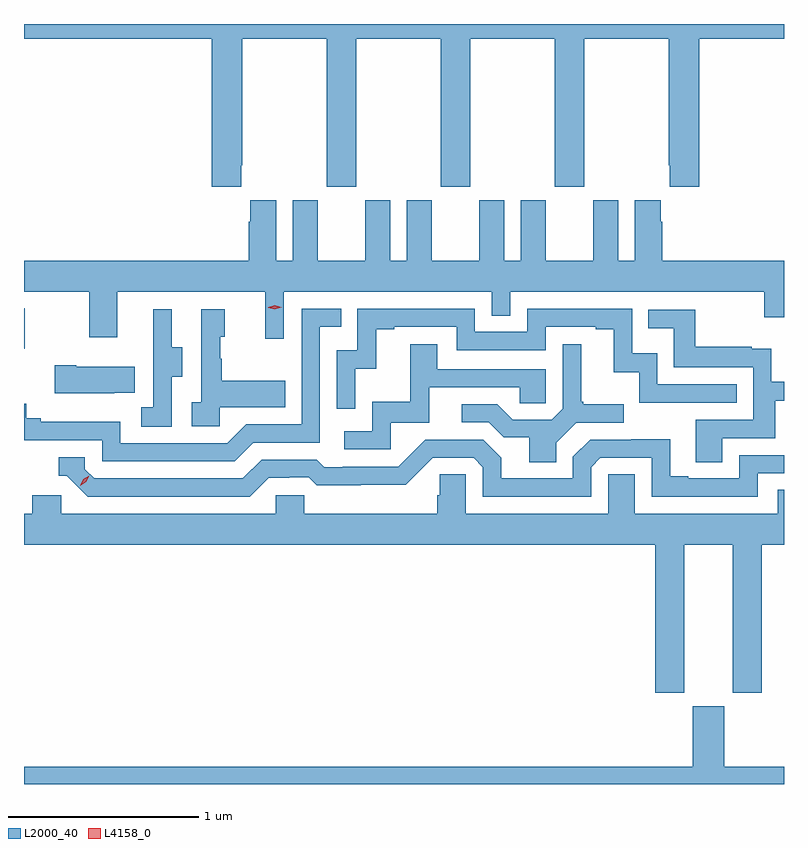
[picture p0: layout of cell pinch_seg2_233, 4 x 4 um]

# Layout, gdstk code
import gdstk
lib = gdstk.Library(unit=1e-6, precision=1e-09)
def R(c, l, rs):  # rectangles x0, y0, x1, y1
    for r in rs: c.add(gdstk.rectangle(r[:2], r[2:], *l))
def P(c, l, *ps):  # polygons
    for p in ps: c.add(gdstk.Polygon(p, *l))
L2000_40 = (2000, 40)
L4158_0 = (4158, 0)

pinch_seg2_233 = lib.new_cell('pinch_seg2_233')
R(pinch_seg2_233, L2000_40, [(927.165,659.323,927.169,659.536)])
P(pinch_seg2_233, L2000_40, [(927.165,660.956),(928.154,660.956),(928.154,660.177),(928.309,660.177),(928.309,660.289),(928.314,660.289),(928.314,660.956),(928.759,660.956),(928.759,660.177),(928.914,660.177),(928.914,660.956),(929.359,660.956),(929.359,660.177),(929.514,660.177),(929.514,660.956),(929.959,660.956),(929.959,660.177),(930.114,660.177),(930.114,660.956),(930.559,660.956),(930.559,660.289),(930.563,660.289),(930.563,660.177),(930.719,660.177),(930.719,660.956),(931.165,660.956),(931.165,661.033),(927.165,661.033)],
  [(928.533,659.624),(929.628,659.624),(929.628,659.497),(929.724,659.497),(929.724,659.624),(931.06,659.624),(931.06,659.489),(931.165,659.489),(931.165,659.788),(930.524,659.788),(930.524,659.993),(930.517,659.993),(930.517,660.106),(930.38,660.106),(930.38,659.788),(930.292,659.788),(930.292,660.106),(930.161,660.106),(930.161,659.788),(929.911,659.788),(929.911,660.106),(929.78,660.106),(929.78,659.788),(929.692,659.788),(929.692,660.106),(929.561,660.106),(929.561,659.788),(929.311,659.788),(929.311,660.106),(929.18,660.106),(929.18,659.788),(929.092,659.788),(929.092,660.106),(928.961,660.106),(928.961,659.788),(928.711,659.788),(928.711,660.106),(928.58,660.106),(928.58,659.788),(928.492,659.788),(928.492,660.106),(928.355,660.106),(928.355,659.993),(928.349,659.993),(928.349,659.788),(927.165,659.788),(927.165,659.624),(927.508,659.624),(927.508,659.385),(927.655,659.385),(927.655,659.624),(928.436,659.624),(928.436,659.376),(928.533,659.376)],
  [(928.908,659.219),(929.018,659.219),(929.018,659.427),(929.113,659.427),(929.113,659.439),(929.442,659.439),(929.442,659.316),(929.91,659.316),(929.91,659.439),(930.173,659.439),(930.173,659.427),(930.269,659.427),(930.269,659.201),(930.402,659.201),(930.402,659.04),(930.917,659.04),(930.917,659.136),(930.498,659.136),(930.498,659.299),(930.366,659.299),(930.366,659.535),(929.814,659.535),(929.814,659.412),(929.538,659.412),(929.538,659.535),(928.92,659.535),(928.92,659.316),(928.812,659.316),(928.812,659.007),(928.908,659.007)],
  [(928.372,658.83),(928.722,658.83),(928.722,659.439),(928.835,659.439),(928.835,659.535),(928.626,659.535),(928.626,658.926),(928.335,658.926),(928.236,658.827),(927.672,658.827),(927.672,658.939),(927.253,658.939),(927.253,658.958),(927.176,658.958),(927.176,659.035),(927.165,659.035),(927.165,658.842),(927.576,658.842),(927.576,658.731),(928.273,658.731)],
  [(927.942,659.176),(927.997,659.176),(927.997,659.331),(927.943,659.331),(927.943,659.533),(927.845,659.533),(927.845,659.319),(927.846,659.319),(927.846,659.015),(927.783,659.015),(927.783,658.912),(927.942,658.912)],
  [(928.194,659.015),(928.541,659.015),(928.541,659.155),(928.207,659.155),(928.207,659.27),(928.197,659.27),(928.197,659.388),(928.222,659.388),(928.222,659.533),(928.098,659.533),(928.098,659.042),(928.047,659.042),(928.047,658.917),(928.194,658.917)],
  [(930.841,658.854),(931.118,658.854),(931.118,659.05),(931.165,659.05),(931.165,659.151),(931.098,659.151),(931.098,659.323),(930.995,659.323),(930.995,659.335),(930.697,659.335),(930.697,659.529),(930.451,659.529),(930.451,659.432),(930.586,659.432),(930.586,659.226),(931.002,659.226),(931.002,658.95),(930.701,658.95),(930.701,658.726),(930.841,658.726)],
  [(929.965,658.828),(930.072,658.935),(930.322,658.935),(930.322,659.032),(930.109,659.032),(930.109,659.044),(930.097,659.044),(930.097,659.347),(930,659.347),(930,659.007),(929.943,658.95),(929.737,658.95),(929.656,659.031),(929.469,659.031),(929.469,658.938),(929.61,658.938),(929.69,658.858),(929.825,658.858),(929.825,658.726),(929.965,658.726)],
  [(929.094,658.935),(929.299,658.935),(929.299,659.121),(929.773,659.121),(929.773,659.037),(929.91,659.037),(929.91,659.217),(929.341,659.217),(929.341,659.347),(929.197,659.347),(929.197,659.044),(928.998,659.044),(928.998,658.89),(928.851,658.89),(928.851,658.794),(929.094,658.794)],
  [(927.641,659.093),(927.749,659.093),(927.749,659.23),(927.439,659.23),(927.439,659.238),(927.327,659.238),(927.327,659.09),(927.641,659.09)],
  [(928.453,658.644),(928.56,658.644),(928.56,658.647),(928.663,658.647),(928.705,658.605),(928.938,658.605),(928.938,658.607),(929.174,658.607),(929.316,658.749),(929.532,658.749),(929.58,658.701),(929.58,658.545),(930.15,658.545),(930.15,658.701),(930.198,658.749),(930.468,658.749),(930.468,658.545),(931.026,658.545),(931.026,658.668),(931.165,658.668),(931.165,658.764),(930.93,658.764),(930.93,658.641),(930.661,658.641),(930.661,658.654),(930.565,658.654),(930.565,658.847),(930.36,658.847),(930.36,658.845),(930.144,658.845),(930.054,658.755),(930.054,658.641),(929.677,658.641),(929.677,658.751),(929.583,658.845),(929.277,658.845),(929.136,658.704),(928.843,658.704),(928.843,658.701),(928.744,658.701),(928.705,658.74),(928.416,658.74),(928.317,658.641),(927.534,658.641),(927.486,658.689),(927.486,658.752),(927.347,658.752),(927.347,658.656),(927.39,658.656),(927.501,658.545),(928.354,658.545)],
  [(930.64,658.292),(930.896,658.292),(930.896,657.513),(931.049,657.513),(931.049,658.292),(931.165,658.292),(931.165,658.583),(931.131,658.583),(931.131,658.456),(930.379,658.456),(930.379,658.664),(930.24,658.664),(930.24,658.456),(929.49,658.456),(929.49,658.664),(929.353,658.664),(929.353,658.554),(929.339,658.554),(929.339,658.456),(928.641,658.456),(928.641,658.554),(928.491,658.554),(928.491,658.456),(927.36,658.456),(927.36,658.554),(927.209,658.554),(927.209,658.456),(927.165,658.456),(927.165,658.292),(930.488,658.292),(930.488,657.513),(930.64,657.513)],
  [(931.165,657.124),(930.85,657.124),(930.85,657.441),(930.686,657.441),(930.686,657.124),(927.165,657.124),(927.165,657.033),(931.165,657.033)])
P(pinch_seg2_233, L4158_0, [(928.486,659.532),(928.45,659.54),(928.45,659.54),(928.45,659.541),(928.485,659.552),(928.521,659.543),(928.522,659.543),(928.521,659.543)],
  [(927.461,658.604),(927.461,658.604),(927.478,658.637),(927.509,658.656),(927.509,658.656),(927.509,658.656),(927.493,658.623),(927.462,658.604)])

lib.write_gds('pinch_seg2_233.gds')
